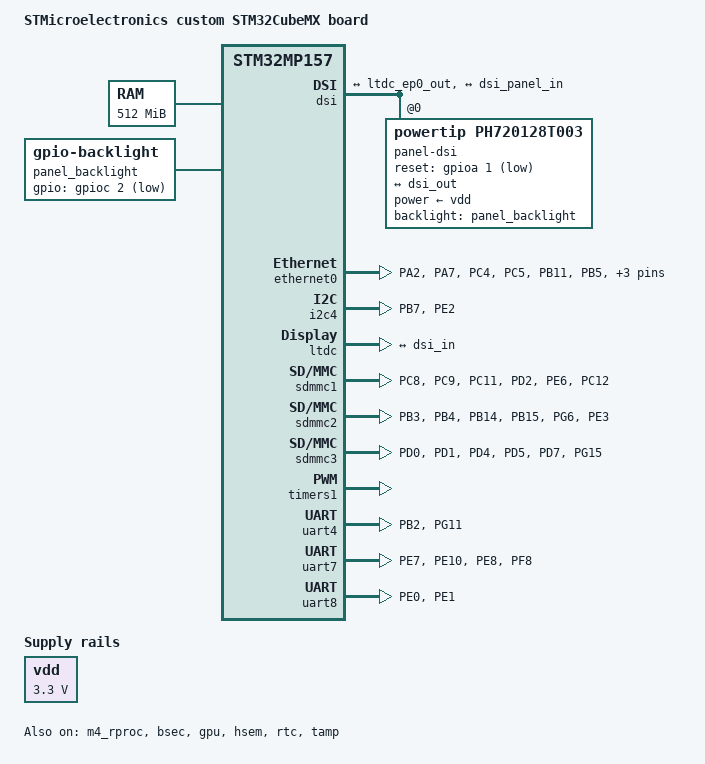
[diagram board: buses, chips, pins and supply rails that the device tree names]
/* SPDX-License-Identifier: (GPL-2.0+ OR BSD-3-Clause) */
/*
 * Copyright (C) STMicroelectronics 2020 - All Rights Reserved
 * Author: STM32CubeMX code generation for STMicroelectronics.
 */

/* For more information on Device Tree configuration, please refer to
 * https://wiki.st.com/stm32mpu/wiki/Category:Device_tree_configuration
 */

/dts-v1/;
#include "stm32mp157c.dtsi"
#include "stm32mp157cab-pinctrl.dtsi"
#include "stm32mp157c-m4-srm.dtsi"

/* USER CODE BEGIN includes */
/* USER CODE END includes */

/ {
	model = "STMicroelectronics custom STM32CubeMX board";
	compatible = "st,stm32mp157a-visionsom-mx-dsi", "st,stm32mp157";

	memory@c0000000 {
		reg = <0xc0000000 0x20000000>;

		/* USER CODE BEGIN memory */
		/* USER CODE END memory */
	};

	reserved-memory {
		#address-cells = <1>;
		#size-cells = <1>;
		ranges;

		/* USER CODE BEGIN reserved-memory */
		/* USER CODE END reserved-memory */

		gpu_reserved: gpu@d4000000 {
			reg = <0xd4000000 0x4000000>;
			no-map;
		};
	};

	/* USER CODE BEGIN root */

        panel_backlight: panel-backlight {
                compatible = "gpio-backlight";
                gpios = <&gpioc 2 GPIO_ACTIVE_LOW>;
                default-on;
                status = "okay";
        };

	vdd: regulator_vdd {
		compatible = "regulator-fixed";
		regulator-name = "vdd";
		regulator-min-microvolt = <3300000>;
		regulator-max-microvolt = <3300000>;
		enable-active-high;
		regulator-always-on;
		regulator-initial-mode = <0>;
	};

	/* USER CODE END root */

	clocks {
		/* USER CODE BEGIN clocks */
		/* USER CODE END clocks */

		clk_lsi: clk-lsi {
			clock-frequency = <32000>;
		};

		clk_hsi: clk-hsi {
			clock-frequency = <64000000>;
		};

		clk_csi: clk-csi {
			clock-frequency = <4000000>;
		};

		clk_lse: clk-lse {
			clock-frequency = <32768>;
		};

		clk_hse: clk-hse {
			clock-frequency = <24000000>;
		};
	};

}; /*root*/

&pinctrl {
	u-boot,dm-pre-reloc;

	eth1_pins_mx: eth1_mx-0 {
		pins1 {
			pinmux = <STM32_PINMUX('A', 2, AF11)>; /* ETH1_MDIO */
			bias-pull-up;
			drive-push-pull;
			slew-rate = <0>;
		};
		pins2 {
			pinmux = <STM32_PINMUX('A', 7, AF11)>, /* ETH1_CRS_DV */
					 <STM32_PINMUX('C', 4, AF11)>, /* ETH1_RXD0 */
					 <STM32_PINMUX('C', 5, AF11)>; /* ETH1_RXD1 */
			bias-disable;
		};
		pins3 {
			pinmux = <STM32_PINMUX('B', 11, AF11)>; /* ETH1_TX_EN */
		};
		pins4 {
			pinmux = <STM32_PINMUX('B', 5, AF0)>, /* ETH1_CLK */
					 <STM32_PINMUX('B', 13, AF11)>, /* ETH1_TXD1 */
					 <STM32_PINMUX('C', 1, AF11)>, /* ETH1_MDC */
					 <STM32_PINMUX('G', 13, AF11)>; /* ETH1_TXD0 */
			bias-disable;
			drive-push-pull;
			slew-rate = <1>;
		};
	};

	eth1_sleep_pins_mx: eth1_sleep_mx-0 {
		pins {
			pinmux = <STM32_PINMUX('A', 2, ANALOG)>, /* ETH1_MDIO */
					 <STM32_PINMUX('A', 7, ANALOG)>, /* ETH1_CRS_DV */
					 <STM32_PINMUX('B', 5, ANALOG)>, /* ETH1_CLK */
					 <STM32_PINMUX('B', 11, ANALOG)>, /* ETH1_TX_EN */
					 <STM32_PINMUX('B', 13, ANALOG)>, /* ETH1_TXD1 */
					 <STM32_PINMUX('C', 1, ANALOG)>, /* ETH1_MDC */
					 <STM32_PINMUX('C', 4, ANALOG)>, /* ETH1_RXD0 */
					 <STM32_PINMUX('C', 5, ANALOG)>, /* ETH1_RXD1 */
					 <STM32_PINMUX('G', 13, ANALOG)>; /* ETH1_TXD0 */
		};
	};

	i2c4_pins_mx: i2c4_mx-0 {
		pins {
			pinmux = <STM32_PINMUX('B', 7, AF6)>, /* I2C4_SDA */
					 <STM32_PINMUX('E', 2, AF4)>; /* I2C4_SCL */
			bias-disable;
			drive-open-drain;
			slew-rate = <0>;
		};
	};

	i2c4_sleep_pins_mx: i2c4_sleep_mx-0 {
		pins {
			pinmux = <STM32_PINMUX('B', 7, ANALOG)>, /* I2C4_SDA */
					 <STM32_PINMUX('E', 2, ANALOG)>; /* I2C4_SCL */
		};
	};

	rtc_pins_mx: rtc_mx-0 {
		pins {
			pinmux = <STM32_PINMUX('C', 13, ANALOG)>; /* RTC_LSCO */
		};
	};

	rtc_sleep_pins_mx: rtc_sleep_mx-0 {
		pins {
			pinmux = <STM32_PINMUX('C', 13, ANALOG)>; /* RTC_LSCO */
		};
	};

	sdmmc1_pins_mx: sdmmc1_mx-0 {
		u-boot,dm-pre-reloc;
		pins1 {
			u-boot,dm-pre-reloc;
			pinmux = <STM32_PINMUX('C', 8, AF12)>, /* SDMMC1_D0 */
					 <STM32_PINMUX('C', 9, AF12)>, /* SDMMC1_D1 */
					 <STM32_PINMUX('C', 11, AF12)>, /* SDMMC1_D3 */
					 <STM32_PINMUX('D', 2, AF12)>, /* SDMMC1_CMD */
					 <STM32_PINMUX('E', 6, AF8)>; /* SDMMC1_D2 */
			bias-disable;
			drive-push-pull;
			slew-rate = <1>;
		};
		pins2 {
			u-boot,dm-pre-reloc;
			pinmux = <STM32_PINMUX('C', 12, AF12)>; /* SDMMC1_CK */
			bias-disable;
			drive-push-pull;
			slew-rate = <3>;
		};
	};

	sdmmc1_opendrain_pins_mx: sdmmc1_opendrain_mx-0 {
		u-boot,dm-pre-reloc;
		pins1 {
			u-boot,dm-pre-reloc;
			pinmux = <STM32_PINMUX('C', 8, AF12)>, /* SDMMC1_D0 */
					 <STM32_PINMUX('C', 9, AF12)>, /* SDMMC1_D1 */
					 <STM32_PINMUX('C', 11, AF12)>, /* SDMMC1_D3 */
					 <STM32_PINMUX('E', 6, AF8)>; /* SDMMC1_D2 */
			bias-disable;
			drive-push-pull;
			slew-rate = <1>;
		};
		pins2 {
			u-boot,dm-pre-reloc;
			pinmux = <STM32_PINMUX('C', 12, AF12)>; /* SDMMC1_CK */
			bias-disable;
			drive-push-pull;
			slew-rate = <3>;
		};
		pins3 {
			u-boot,dm-pre-reloc;
			pinmux = <STM32_PINMUX('D', 2, AF12)>; /* SDMMC1_CMD */
			bias-disable;
			drive-open-drain;
			slew-rate = <1>;
		};
	};

	sdmmc1_sleep_pins_mx: sdmmc1_sleep_mx-0 {
		u-boot,dm-pre-reloc;
		pins {
			u-boot,dm-pre-reloc;
			pinmux = <STM32_PINMUX('C', 8, ANALOG)>, /* SDMMC1_D0 */
					 <STM32_PINMUX('C', 9, ANALOG)>, /* SDMMC1_D1 */
					 <STM32_PINMUX('C', 11, ANALOG)>, /* SDMMC1_D3 */
					 <STM32_PINMUX('C', 12, ANALOG)>, /* SDMMC1_CK */
					 <STM32_PINMUX('D', 2, ANALOG)>, /* SDMMC1_CMD */
					 <STM32_PINMUX('E', 6, ANALOG)>; /* SDMMC1_D2 */
		};
	};

	sdmmc2_pins_mx: sdmmc2_mx-0 {
		u-boot,dm-pre-reloc;
		pins1 {
			u-boot,dm-pre-reloc;
			pinmux = <STM32_PINMUX('B', 3, AF9)>, /* SDMMC2_D2 */
					 <STM32_PINMUX('B', 4, AF9)>, /* SDMMC2_D3 */
					 <STM32_PINMUX('B', 14, AF9)>, /* SDMMC2_D0 */
					 <STM32_PINMUX('B', 15, AF9)>, /* SDMMC2_D1 */
					 <STM32_PINMUX('G', 6, AF10)>; /* SDMMC2_CMD */
			bias-disable;
			drive-push-pull;
			slew-rate = <1>;
		};
		pins2 {
			u-boot,dm-pre-reloc;
			pinmux = <STM32_PINMUX('E', 3, AF9)>; /* SDMMC2_CK */
			bias-disable;
			drive-push-pull;
			slew-rate = <3>;
		};
	};

	sdmmc2_opendrain_pins_mx: sdmmc2_opendrain_mx-0 {
		u-boot,dm-pre-reloc;
		pins1 {
			u-boot,dm-pre-reloc;
			pinmux = <STM32_PINMUX('B', 3, AF9)>, /* SDMMC2_D2 */
					 <STM32_PINMUX('B', 4, AF9)>, /* SDMMC2_D3 */
					 <STM32_PINMUX('B', 14, AF9)>, /* SDMMC2_D0 */
					 <STM32_PINMUX('B', 15, AF9)>; /* SDMMC2_D1 */
			bias-disable;
			drive-push-pull;
			slew-rate = <1>;
		};
		pins2 {
			u-boot,dm-pre-reloc;
			pinmux = <STM32_PINMUX('E', 3, AF9)>; /* SDMMC2_CK */
			bias-disable;
			drive-push-pull;
			slew-rate = <3>;
		};
		pins3 {
			u-boot,dm-pre-reloc;
			pinmux = <STM32_PINMUX('G', 6, AF10)>; /* SDMMC2_CMD */
			bias-disable;
			drive-open-drain;
			slew-rate = <1>;
		};
	};

	sdmmc2_sleep_pins_mx: sdmmc2_sleep_mx-0 {
		u-boot,dm-pre-reloc;
		pins {
			u-boot,dm-pre-reloc;
			pinmux = <STM32_PINMUX('B', 3, ANALOG)>, /* SDMMC2_D2 */
					 <STM32_PINMUX('B', 4, ANALOG)>, /* SDMMC2_D3 */
					 <STM32_PINMUX('B', 14, ANALOG)>, /* SDMMC2_D0 */
					 <STM32_PINMUX('B', 15, ANALOG)>, /* SDMMC2_D1 */
					 <STM32_PINMUX('E', 3, ANALOG)>, /* SDMMC2_CK */
					 <STM32_PINMUX('G', 6, ANALOG)>; /* SDMMC2_CMD */
		};
	};

	sdmmc3_pins_mx: sdmmc3_mx-0 {
		pins1 {
			pinmux = <STM32_PINMUX('D', 0, AF10)>, /* SDMMC3_CMD */
					 <STM32_PINMUX('D', 1, AF10)>, /* SDMMC3_D0 */
					 <STM32_PINMUX('D', 4, AF10)>, /* SDMMC3_D1 */
					 <STM32_PINMUX('D', 5, AF10)>, /* SDMMC3_D2 */
					 <STM32_PINMUX('D', 7, AF10)>; /* SDMMC3_D3 */
			bias-disable;
			drive-push-pull;
			slew-rate = <1>;
		};
		pins2 {
			pinmux = <STM32_PINMUX('G', 15, AF10)>; /* SDMMC3_CK */
			bias-disable;
			drive-push-pull;
			slew-rate = <3>;
		};
	};

	sdmmc3_opendrain_pins_mx: sdmmc3_opendrain_mx-0 {
		pins1 {
			pinmux = <STM32_PINMUX('D', 0, AF10)>; /* SDMMC3_CMD */
			bias-disable;
			drive-open-drain;
			slew-rate = <1>;
		};
		pins2 {
			pinmux = <STM32_PINMUX('D', 1, AF10)>, /* SDMMC3_D0 */
					 <STM32_PINMUX('D', 4, AF10)>, /* SDMMC3_D1 */
					 <STM32_PINMUX('D', 5, AF10)>, /* SDMMC3_D2 */
					 <STM32_PINMUX('D', 7, AF10)>; /* SDMMC3_D3 */
			bias-disable;
			drive-push-pull;
			slew-rate = <1>;
		};
		pins3 {
			pinmux = <STM32_PINMUX('G', 15, AF10)>; /* SDMMC3_CK */
			bias-disable;
			drive-push-pull;
			slew-rate = <3>;
		};
	};

	sdmmc3_sleep_pins_mx: sdmmc3_sleep_mx-0 {
		pins {
			pinmux = <STM32_PINMUX('D', 0, ANALOG)>, /* SDMMC3_CMD */
					 <STM32_PINMUX('D', 1, ANALOG)>, /* SDMMC3_D0 */
					 <STM32_PINMUX('D', 4, ANALOG)>, /* SDMMC3_D1 */
					 <STM32_PINMUX('D', 5, ANALOG)>, /* SDMMC3_D2 */
					 <STM32_PINMUX('D', 7, ANALOG)>, /* SDMMC3_D3 */
					 <STM32_PINMUX('G', 15, ANALOG)>; /* SDMMC3_CK */
		};
	};

	tim1_pwm_pins_mx: tim1_pwm_mx-0 {
		pins {
			pinmux = <STM32_PINMUX('A', 11, AF1)>; /* TIM1_CH4 */
			bias-disable;
			drive-push-pull;
			slew-rate = <0>;
		};
	};

	tim1_pwm_sleep_pins_mx: tim1_pwm_sleep_mx-0 {
		pins {
			pinmux = <STM32_PINMUX('A', 11, ANALOG)>; /* TIM1_CH4 */
		};
	};

	uart4_pins_mx: uart4_mx-0 {
		u-boot,dm-pre-reloc;
		pins1 {
			u-boot,dm-pre-reloc;
			pinmux = <STM32_PINMUX('B', 2, AF8)>; /* UART4_RX */
			bias-disable;
		};
		pins2 {
			u-boot,dm-pre-reloc;
			pinmux = <STM32_PINMUX('G', 11, AF6)>; /* UART4_TX */
			bias-disable;
			drive-push-pull;
			slew-rate = <0>;
		};
	};

	uart4_sleep_pins_mx: uart4_sleep_mx-0 {
		u-boot,dm-pre-reloc;
		pins {
			u-boot,dm-pre-reloc;
			pinmux = <STM32_PINMUX('B', 2, ANALOG)>, /* UART4_RX */
					 <STM32_PINMUX('G', 11, ANALOG)>; /* UART4_TX */
		};
	};

	uart7_pins_mx: uart7_mx-0 {
		pins1 {
			pinmux = <STM32_PINMUX('E', 7, AF7)>, /* UART7_RX */
					 <STM32_PINMUX('E', 10, AF7)>; /* UART7_CTS */
			bias-disable;
		};
		pins2 {
			pinmux = <STM32_PINMUX('E', 8, AF7)>, /* UART7_TX */
					 <STM32_PINMUX('F', 8, AF7)>; /* UART7_RTS */
			bias-disable;
			drive-push-pull;
			slew-rate = <0>;
		};
	};

	uart7_sleep_pins_mx: uart7_sleep_mx-0 {
		pins {
			pinmux = <STM32_PINMUX('E', 7, ANALOG)>, /* UART7_RX */
					 <STM32_PINMUX('E', 8, ANALOG)>, /* UART7_TX */
					 <STM32_PINMUX('E', 10, ANALOG)>, /* UART7_CTS */
					 <STM32_PINMUX('F', 8, ANALOG)>; /* UART7_RTS */
		};
	};

	uart8_pins_mx: uart8_mx-0 {
		u-boot,dm-pre-reloc;
		pins1 {
			u-boot,dm-pre-reloc;
			pinmux = <STM32_PINMUX('E', 0, AF8)>; /* UART8_RX */
			bias-disable;
		};
		pins2 {
			u-boot,dm-pre-reloc;
			pinmux = <STM32_PINMUX('E', 1, AF8)>; /* UART8_TX */
			bias-disable;
			drive-push-pull;
			slew-rate = <0>;
		};
	};

	uart8_sleep_pins_mx: uart8_sleep_mx-0 {
		u-boot,dm-pre-reloc;
		pins {
			u-boot,dm-pre-reloc;
			pinmux = <STM32_PINMUX('E', 0, ANALOG)>, /* UART8_RX */
					 <STM32_PINMUX('E', 1, ANALOG)>; /* UART8_TX */
		};
	};

	/* USER CODE BEGIN pinctrl */
	/* USER CODE END pinctrl */
};

&pinctrl_z {
	u-boot,dm-pre-reloc;

	/* USER CODE BEGIN pinctrl_z */
	/* USER CODE END pinctrl_z */
};

&m4_rproc{
	recovery;
	status = "okay";

	/* USER CODE BEGIN m4_rproc */
	/* USER CODE END m4_rproc */
};

&bsec{
	status = "okay";

	/* USER CODE BEGIN bsec */
	/* USER CODE END bsec */
};

&dsi{
	status = "okay";

	/* USER CODE BEGIN dsi */

        #address-cells = <1>;
        #size-cells = <0>;

        ports {
                #address-cells = <1>;
                #size-cells = <0>;

                port@0 {
                        reg = <0>;
                        dsi_in: endpoint {
                                remote-endpoint = <&ltdc_ep0_out>;
                        };
                };

                port@1 {
                        reg = <1>;
                        dsi_out: endpoint {
                                remote-endpoint = <&dsi_panel_in>;
                        };
                };
        };

        panel-dsi@0 {
                compatible = "powertip,ph720128t003";
                reg = <0>;
                reset-gpios = <&gpioa 1 GPIO_ACTIVE_LOW>;
                power-supply = <&vdd>;
                backlight = <&panel_backlight>;
                status = "okay";

                port {
                        dsi_panel_in: endpoint {
                                remote-endpoint = <&dsi_out>;
                        };
                };
        };

	/* USER CODE END dsi */
};

&ethernet0{
	pinctrl-names = "default", "sleep";
	pinctrl-0 = <&eth1_pins_mx>;
	pinctrl-1 = <&eth1_sleep_pins_mx>;
	status = "okay";

	/* USER CODE BEGIN ethernet0 */
	/* USER CODE END ethernet0 */
};

&gpu{
	status = "okay";

	/* USER CODE BEGIN gpu */
	/* USER CODE END gpu */
};

&hsem{
	status = "okay";

	/* USER CODE BEGIN hsem */
	/* USER CODE END hsem */
};

&i2c4{
	pinctrl-names = "default", "sleep";
	pinctrl-0 = <&i2c4_pins_mx>;
	pinctrl-1 = <&i2c4_sleep_pins_mx>;
	status = "okay";

	/* USER CODE BEGIN i2c4 */
	/* USER CODE END i2c4 */
};

&ltdc{
	status = "okay";

	/* USER CODE BEGIN ltdc */

        port {
                #address-cells = <1>;
                #size-cells = <0>;

                ltdc_ep0_out: endpoint@0 {
                        reg = <0>;
                        remote-endpoint = <&dsi_in>;
                };
        };

	/* USER CODE END ltdc */
};

&rcc{
	u-boot,dm-pre-reloc;
	status = "okay";

	/* USER CODE BEGIN rcc */
	/* USER CODE END rcc */
};

&rtc{
	pinctrl-names = "default", "sleep";
	pinctrl-0 = <&rtc_pins_mx>;
	pinctrl-1 = <&rtc_sleep_pins_mx>;
	status = "okay";

	/* USER CODE BEGIN rtc */
	/* USER CODE END rtc */
};

&sdmmc1{
	u-boot,dm-pre-reloc;
	pinctrl-names = "default", "opendrain", "sleep";
	pinctrl-0 = <&sdmmc1_pins_mx>;
	pinctrl-1 = <&sdmmc1_opendrain_pins_mx>;
	pinctrl-2 = <&sdmmc1_sleep_pins_mx>;
	status = "okay";

	/* USER CODE BEGIN sdmmc1 */
	/* USER CODE END sdmmc1 */
};

&sdmmc2{
	u-boot,dm-pre-reloc;
	pinctrl-names = "default", "opendrain", "sleep";
	pinctrl-0 = <&sdmmc2_pins_mx>;
	pinctrl-1 = <&sdmmc2_opendrain_pins_mx>;
	pinctrl-2 = <&sdmmc2_sleep_pins_mx>;
	status = "okay";

	/* USER CODE BEGIN sdmmc2 */
	/* USER CODE END sdmmc2 */
};

&sdmmc3{
	pinctrl-names = "default", "opendrain", "sleep";
	pinctrl-0 = <&sdmmc3_pins_mx>;
	pinctrl-1 = <&sdmmc3_opendrain_pins_mx>;
	pinctrl-2 = <&sdmmc3_sleep_pins_mx>;
	status = "okay";

	/* USER CODE BEGIN sdmmc3 */
	/* USER CODE END sdmmc3 */
};

&tamp{
	status = "okay";

	/* USER CODE BEGIN tamp */
	/* USER CODE END tamp */
};

&timers1{
	status = "okay";

	/* USER CODE BEGIN timers1 */
	/* USER CODE END timers1 */

	pwm{
		pinctrl-names = "default", "sleep";
		pinctrl-0 = <&tim1_pwm_pins_mx>;
		pinctrl-1 = <&tim1_pwm_sleep_pins_mx>;
		status = "okay";

		/* USER CODE BEGIN timers1_pwm */
		/* USER CODE END timers1_pwm */
	};
};

&uart4{
	u-boot,dm-pre-reloc;
	pinctrl-names = "default", "sleep";
	pinctrl-0 = <&uart4_pins_mx>;
	pinctrl-1 = <&uart4_sleep_pins_mx>;
	status = "okay";

	/* USER CODE BEGIN uart4 */
	/* USER CODE END uart4 */
};

&uart7{
	pinctrl-names = "default", "sleep";
	pinctrl-0 = <&uart7_pins_mx>;
	pinctrl-1 = <&uart7_sleep_pins_mx>;
	status = "okay";

	/* USER CODE BEGIN uart7 */
	/* USER CODE END uart7 */
};

&uart8{
	u-boot,dm-pre-reloc;
	pinctrl-names = "default", "sleep";
	pinctrl-0 = <&uart8_pins_mx>;
	pinctrl-1 = <&uart8_sleep_pins_mx>;
	status = "okay";

	/* USER CODE BEGIN uart8 */
	/* USER CODE END uart8 */
};

/* USER CODE BEGIN addons */
/* USER CODE END addons */

